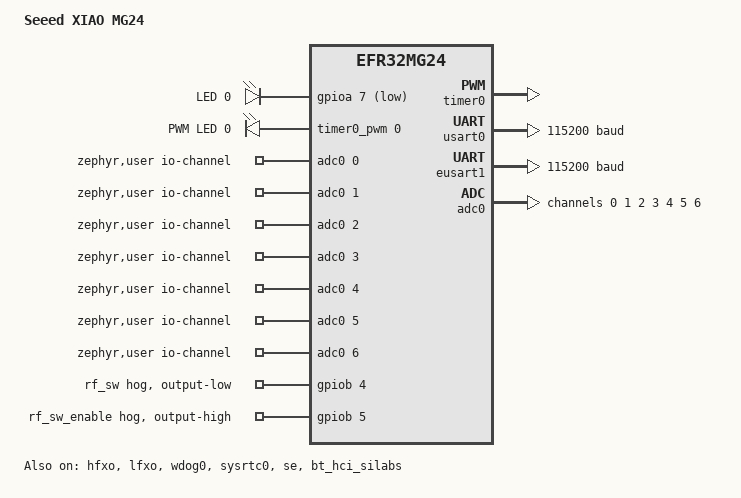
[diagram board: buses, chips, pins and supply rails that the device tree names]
/*
 * Copyright (c) 2025 Pete Johanson
 * Copyright (c) 2025 Silicon Laboratories Inc.
 *
 * SPDX-License-Identifier: Apache-2.0
 */

/dts-v1/;
#include <silabs/xg24/efr32mg24b220f1536im48.dtsi>
#include <zephyr/dt-bindings/pwm/pwm.h>
#include <zephyr/dt-bindings/adc/silabs-adc.h>
#include "xiao_mg24-pinctrl.dtsi"
#include "seeed_xiao_connector.dtsi"

/ {
	model = "Seeed XIAO MG24";
	compatible = "seeed,xiao_mg24", "silabs,efr32mg24";

	chosen {
		zephyr,bt-hci = &bt_hci_silabs;
		zephyr,code-partition = &slot0_partition;
		zephyr,console = &usart0;
		zephyr,flash = &flash0;
		zephyr,shell-uart = &usart0;
		zephyr,sram = &sram0;
		zephyr,uart-pipe = &usart0;
	};

	/* These aliases are provided for compatibility with samples */
	aliases {
		led0 = &led0;
		pwm-led0 = &pwm_led0;
		watchdog0 = &wdog0;
		adc0 = &adc0;
	};

	leds {
		compatible = "gpio-leds";

		led0: led_0 {
			gpios = <&gpioa 7 GPIO_ACTIVE_LOW>;
			label = "LED 0";
		};
	};

	pwmleds {
		compatible = "pwm-leds";

		pwm_led0: pwm_led_0 {
			pwms = <&timer0_pwm 0 PWM_MSEC(20) PWM_POLARITY_INVERTED>;
			label = "PWM LED 0";
		};
	};

	zephyr,user {
		io-channels = <&adc0 0>,
			      <&adc0 1>,
			      <&adc0 2>,
			      <&adc0 3>,
			      <&adc0 4>,
			      <&adc0 5>,
			      <&adc0 6>;
	};
};

&timer0 {
	status = "okay";

	timer0_pwm: pwm {
		pinctrl-0 = <&timer0_default>;
		pinctrl-names = "default";
		status = "okay";
	};
};

&cpu0 {
	clock-frequency = <78000000>;
};

&hfxo {
	ctune = <95>;
	precision = <50>;
	status = "okay";
};

&lfxo {
	ctune = <44>;
	precision = <50>;
	status = "okay";
};

&hfrcodpll {
	clock-frequency = <DT_FREQ_M(78)>;
	clocks = <&hfxo>;
	dpll-autorecover;
	dpll-edge = "fall";
	dpll-lock = "phase";
	dpll-m = <1919>;
	dpll-n = <3839>;
};

&em23grpaclk {
	clocks = <&lfxo>;
};

&em4grpaclk {
	clocks = <&lfxo>;
};

&sysrtcclk {
	clocks = <&lfxo>;
};

&wdog0clk {
	clocks = <&lfxo>;
};

&wdog1clk {
	clocks = <&lfxo>;
};

&usart0 {
	current-speed = <115200>;
	pinctrl-0 = <&usart0_default>;
	pinctrl-names = "default";
	status = "okay";
};

&eusart0 {
	compatible = "silabs,eusart-spi";
	#address-cells = <1>;
	#size-cells = <0>;
	clock-frequency = <4000000>;
	cs-gpios = <&gpioc 7 GPIO_ACTIVE_LOW>;
	pinctrl-0 = <&eusart0_default>;
	pinctrl-names = "default";
};

&eusart1 {
	compatible = "silabs,eusart-uart";
	current-speed = <115200>;
	pinctrl-0 = <&eusart1_default>;
	pinctrl-names = "default";
};

&i2c0 {
	pinctrl-0 = <&i2c0_default>;
	pinctrl-names = "default";
};

&gpio {
	status = "okay";
};

&gpioa {
	status = "okay";
};

&gpiob {
	status = "okay";

	rf_sw: rf_sw {
		gpio-hog;
		gpios = <4 GPIO_ACTIVE_HIGH>;
		output-low;
	};

	rf_sw_enable: rf_sw_enable {
		gpio-hog;
		gpios = <5 GPIO_ACTIVE_HIGH>;
		output-high;
	};
};

&gpioc {
	status = "okay";
};

&gpiod {
	status = "okay";
};

&wdog0 {
	status = "okay";
};

&sysrtc0 {
	status = "okay";
};

&se {
	status = "okay";
};

&adc0 {
	pinctrl-0 = <&iadc0_default>;
	pinctrl-names = "default";
	#address-cells = <1>;
	#size-cells = <0>;
	status = "okay";

	/* A0 - PC0 */
	channel@0 {
		reg = <0>;
		zephyr,acquisition-time = <ADC_ACQ_TIME_DEFAULT>;
		zephyr,gain = "ADC_GAIN_1";
		zephyr,input-positive = <IADC_INPUT_PC0>;
		zephyr,reference = "ADC_REF_VDD_1";
		zephyr,resolution = <12>;
		zephyr,vref-mv = <3300>;
	};

	/* A1 - PC1 */
	channel@1 {
		reg = <1>;
		zephyr,acquisition-time = <ADC_ACQ_TIME_DEFAULT>;
		zephyr,gain = "ADC_GAIN_1";
		zephyr,input-positive = <IADC_INPUT_PC1>;
		zephyr,reference = "ADC_REF_VDD_1";
		zephyr,resolution = <12>;
		zephyr,vref-mv = <3300>;
	};

	/* A2 - PC2 */
	channel@2 {
		reg = <2>;
		zephyr,acquisition-time = <ADC_ACQ_TIME_DEFAULT>;
		zephyr,gain = "ADC_GAIN_1";
		zephyr,input-positive = <IADC_INPUT_PC2>;
		zephyr,reference = "ADC_REF_VDD_1";
		zephyr,resolution = <12>;
		zephyr,vref-mv = <3300>;
	};

	/* A3 - PC3 */
	channel@3 {
		reg = <3>;
		zephyr,acquisition-time = <ADC_ACQ_TIME_DEFAULT>;
		zephyr,gain = "ADC_GAIN_1";
		zephyr,input-positive = <IADC_INPUT_PC3>;
		zephyr,reference = "ADC_REF_VDD_1";
		zephyr,resolution = <12>;
		zephyr,vref-mv = <3300>;
	};

	/* A4 - PC4 */
	channel@4 {
		reg = <4>;
		zephyr,acquisition-time = <ADC_ACQ_TIME_DEFAULT>;
		zephyr,gain = "ADC_GAIN_1";
		zephyr,input-positive = <IADC_INPUT_PC4>;
		zephyr,reference = "ADC_REF_VDD_1";
		zephyr,resolution = <12>;
		zephyr,vref-mv = <3300>;
	};

	/* A5 - PC5 */
	channel@5 {
		reg = <5>;
		zephyr,acquisition-time = <ADC_ACQ_TIME_DEFAULT>;
		zephyr,gain = "ADC_GAIN_1";
		zephyr,input-positive = <IADC_INPUT_PC5>;
		zephyr,reference = "ADC_REF_VDD_1";
		zephyr,resolution = <12>;
		zephyr,vref-mv = <3300>;
	};

	/* A6 - PC6 */
	channel@6 {
		reg = <6>;
		zephyr,acquisition-time = <ADC_ACQ_TIME_DEFAULT>;
		zephyr,gain = "ADC_GAIN_1";
		zephyr,input-positive = <IADC_INPUT_PC6>;
		zephyr,reference = "ADC_REF_VDD_1";
		zephyr,resolution = <12>;
		zephyr,vref-mv = <3300>;
	};
};

&flash0 {
	partitions {
		compatible = "fixed-partitions";
		#address-cells = <1>;
		#size-cells = <1>;

		/* Reserve 48 kB for the bootloader */
		boot_partition: partition@0 {
			reg = <0x0 DT_SIZE_K(48)>;
			label = "mcuboot";
			read-only;
		};

		/* Reserve 736 kB for the application in slot 0 */
		slot0_partition: partition@c000 {
			reg = <0x0000c000 0x000b8000>;
			label = "image-0";
		};

		/* Reserve 736 kB for the application in slot 1 */
		slot1_partition: partition@c4000 {
			reg = <0x000c4000 0x000b8000>;
			label = "image-1";
		};

		/* Set 16 kB of storage at the end of the 1536 kB of flash */
		storage_partition: partition@17c000 {
			reg = <0x0017c000 DT_SIZE_K(16)>;
			label = "storage";
		};
	};
};

&bt_hci_silabs {
	status = "okay";
};
